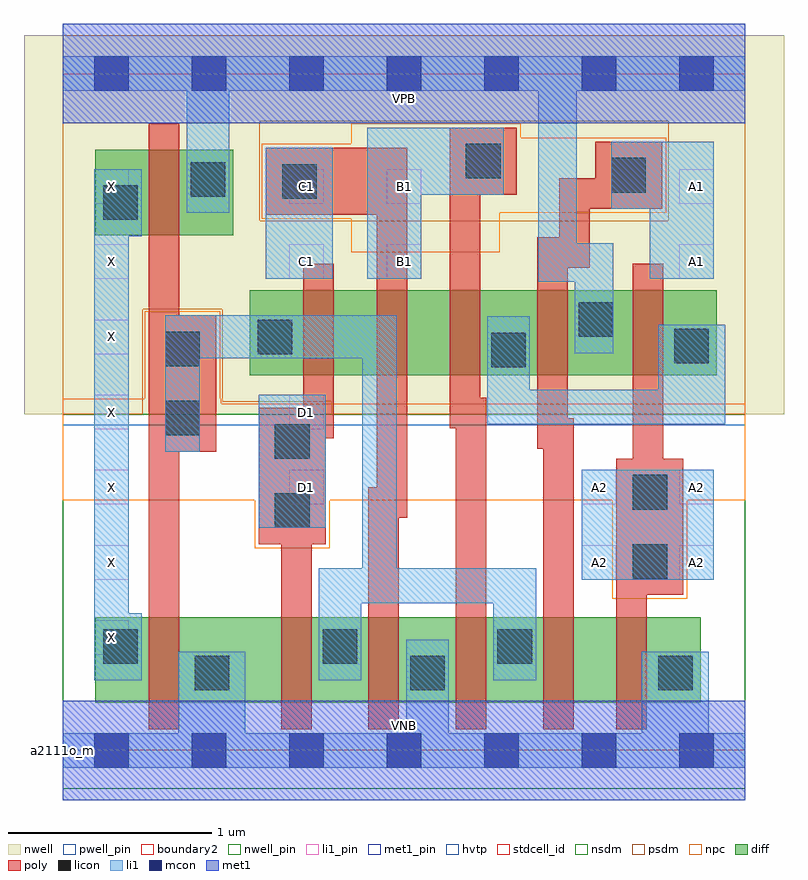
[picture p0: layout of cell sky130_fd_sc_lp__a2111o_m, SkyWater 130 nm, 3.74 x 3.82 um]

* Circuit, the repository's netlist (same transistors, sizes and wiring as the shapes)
* Copyright 2020 The SkyWater PDK Authors
*
* Licensed under the Apache License, Version 2.0 (the "License");
* you may not use this file except in compliance with the License.
* You may obtain a copy of the License at
*
*     https://www.apache.org/licenses/LICENSE-2.0
*
* Unless required by applicable law or agreed to in writing, software
* distributed under the License is distributed on an "AS IS" BASIS,
* WITHOUT WARRANTIES OR CONDITIONS OF ANY KIND, either express or implied.
* See the License for the specific language governing permissions and
* limitations under the License.
*
* SPDX-License-Identifier: Apache-2.0

.SUBCKT sky130_fd_sc_lp__a2111o_m A1 A2 B1 C1 D1 VGND VNB VPB VPWR X
*.PININFO A1:I A2:I B1:I C1:I D1:I VGND:I VNB:I VPB:I VPWR:I X:O
MMPA0 pndA A1 VPWR VPB sky130_fd_pr__pfet_01v8_hvt m=1 w=0.42U l=0.15U mult=1 sa=0.265
+ sb=0.265 sd=0.28 area=0.063 perim=1.14
MMPA1 pndA A2 VPWR VPB sky130_fd_pr__pfet_01v8_hvt m=1 w=0.42U l=0.15U mult=1 sa=0.265
+ sb=0.265 sd=0.28 area=0.063 perim=1.14
MMPB0 pndB B1 pndA VPB sky130_fd_pr__pfet_01v8_hvt m=1 w=0.42U l=0.15U mult=1 sa=0.265
+ sb=0.265 sd=0.28 area=0.063 perim=1.14
MMPC0 pndC C1 pndB VPB sky130_fd_pr__pfet_01v8_hvt m=1 w=0.42U l=0.15U mult=1 sa=0.265
+ sb=0.265 sd=0.28 area=0.063 perim=1.14
MMPD0 y D1 pndC VPB sky130_fd_pr__pfet_01v8_hvt m=1 w=0.42U l=0.15U mult=1 sa=0.265
+ sb=0.265 sd=0.28 area=0.063 perim=1.14
MMIPX X y VPWR VPB sky130_fd_pr__pfet_01v8_hvt m=1 w=0.42U l=0.15U mult=1 sa=0.265
+ sb=0.265 sd=0.28 area=0.063 perim=1.14
MMNA0 y A1 sndA1 VNB sky130_fd_pr__nfet_01v8 m=1 w=0.42U l=0.15U mult=1 sa=0.265
+ sb=0.265 sd=0.28 area=0.063 perim=1.14
MMNA1 sndA1 A2 VGND VNB sky130_fd_pr__nfet_01v8 m=1 w=0.42U l=0.15U mult=1 sa=0.265
+ sb=0.265 sd=0.28 area=0.063 perim=1.14
MMNB0 y B1 VGND VNB sky130_fd_pr__nfet_01v8 m=1 w=0.42U l=0.15U mult=1 sa=0.265
+ sb=0.265 sd=0.28 area=0.063 perim=1.14
MMNC0 y C1 VGND VNB sky130_fd_pr__nfet_01v8 m=1 w=0.42U l=0.15U mult=1 sa=0.265
+ sb=0.265 sd=0.28 area=0.063 perim=1.14
MMND0 y D1 VGND VNB sky130_fd_pr__nfet_01v8 m=1 w=0.42U l=0.15U mult=1 sa=0.265
+ sb=0.265 sd=0.28 area=0.063 perim=1.14
MMINX X y VGND VNB sky130_fd_pr__nfet_01v8 m=1 w=0.42U l=0.15U mult=1 sa=0.265
+ sb=0.265 sd=0.28 area=0.063 perim=1.14
.ENDS sky130_fd_sc_lp__a2111o_m

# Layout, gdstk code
import gdstk
lib = gdstk.Library(unit=1e-6, precision=1e-09)
def R(c, l, rs):  # rectangles x0, y0, x1, y1
    for r in rs: c.add(gdstk.rectangle(r[:2], r[2:], *l))
def A(c, l, x, y, w, h, nx, ny, dx, dy):  # array of equal rectangles
    R(c, l, [(x+i*dx, y+j*dy, x+i*dx+w, y+j*dy+h) for i in range(nx) for j in range(ny)])
def P(c, l, *ps):  # polygons
    for p in ps: c.add(gdstk.Polygon(p, *l))
nwell_pin = (64, 16)
nwell = (64, 20)
diff = (65, 20)
poly = (66, 20)
licon = (66, 44)
li1_pin = (67, 16)
li1 = (67, 20)
mcon = (67, 44)
met1_pin = (68, 16)
met1 = (68, 20)
hvtp = (78, 44)
stdcell_id = (81, 4)
nsdm = (93, 44)
psdm = (94, 20)
npc = (95, 20)
pwell_pin = (122, 16)
boundary2 = (236, 0)

sky130_fd_sc_lp__a2111o_ = lib.new_cell('sky130_fd_sc_lp__a2111o_m')
R(sky130_fd_sc_lp__a2111o_, nwell_pin, [(0,3.085,3.36,3.33)])
R(sky130_fd_sc_lp__a2111o_, nwell, [(-0.19,1.655,3.55,3.52)])
R(sky130_fd_sc_lp__a2111o_, diff, [(0.16,0.235,3.14,0.655), (0.92,1.845,3.22,2.265), (0.16,2.535,0.84,2.955)])
R(sky130_fd_sc_lp__a2111o_, poly, [(2.725,0.105,2.875,0.765), (2.725,0.765,3.055,1.435), (2.805,1.435,2.955,2.395)])
P(sky130_fd_sc_lp__a2111o_, poly, [(0.755,2.14),(0.575,2.14),(0.575,3.085),(0.425,3.085),(0.425,0.105),(0.575,0.105),(0.575,1.47),(0.755,1.47)],
  [(1.335,2.395),(1.185,2.395),(1.185,1.685),(0.965,1.685),(0.965,1.015),(1.075,1.015),(1.075,0.105),(1.225,0.105),(1.225,1.015),(1.295,1.015),(1.295,1.535),(1.335,1.535)],
  [(1.695,2.965),(1,2.965),(1,2.635),(1.545,2.635),(1.545,1.295),(1.505,1.295),(1.505,0.105),(1.655,0.105),(1.655,1.145),(1.695,1.145)],
  [(2.95,2.995),(2.62,2.995),(2.62,2.815),(2.445,2.815),(2.445,2.525),(2.335,2.525),(2.335,1.485),(2.365,1.485),(2.365,0.105),(2.515,0.105),(2.515,1.635),(2.485,1.635),(2.485,2.375),(2.595,2.375),(2.595,2.665),(2.95,2.665)],
  [(2.235,3.065),(1.905,3.065),(1.905,1.585),(1.935,1.585),(1.935,0.105),(2.085,0.105),(2.085,1.735),(2.055,1.735),(2.055,2.735),(2.235,2.735)])
R(sky130_fd_sc_lp__a2111o_, licon, [(0.65,0.295,0.82,0.465), (1.71,0.295,1.88,0.465), (2.93,0.295,3.1,0.465), (0.2,0.425,0.37,0.595), (1.28,0.425,1.45,0.595), (2.14,0.425,2.31,0.595), (2.805,0.845,2.975,1.015), (1.045,1.095,1.215,1.265), (2.805,1.185,2.975,1.355), (1.045,1.435,1.215,1.605), (0.505,1.55,0.675,1.72), (2.11,1.885,2.28,2.055), (0.505,1.89,0.675,2.06), (3.01,1.905,3.18,2.075), (0.96,1.95,1.13,2.12), (2.54,2.035,2.71,2.205), (0.2,2.61,0.37,2.78), (1.08,2.715,1.25,2.885), (0.63,2.725,0.8,2.895), (2.7,2.745,2.87,2.915), (1.985,2.815,2.155,2.985)])
A(sky130_fd_sc_lp__a2111o_, li1_pin, 0.155, 0.47, 0.17, 0.17, 1, 7, 0, 0.37)
R(sky130_fd_sc_lp__a2111o_, li1_pin, [(2.555,0.84,2.725,1.01), (3.035,0.84,3.205,1.01), (1.115,1.21,1.285,1.38), (2.555,1.21,2.725,1.38), (3.035,1.21,3.205,1.38), (1.115,1.58,1.285,1.75), (1.115,2.32,1.285,2.49), (1.595,2.32,1.765,2.49), (3.035,2.32,3.205,2.49), (1.115,2.69,1.285,2.86), (1.595,2.69,1.765,2.86), (3.035,2.69,3.205,2.86)])
R(sky130_fd_sc_lp__a2111o_, li1, [(2.555,0.84,3.205,1.38), (0.965,1.095,1.295,1.75), (1,2.32,1.33,2.965)])
P(sky130_fd_sc_lp__a2111o_, li1, [(2.85,0.085),(2.85,0.485),(3.18,0.485),(3.18,0.085),(3.36,0.085),(3.36,-0.085),(0,-0.085),(0,0.085),(0.57,0.085),(0.57,0.485),(0.9,0.485),(0.9,0.085),(1.69,0.085),(1.69,0.545),(1.9,0.545),(1.9,0.085)],
  [(1.645,2.14),(1.645,0.895),(2.33,0.895),(2.33,0.345),(2.12,0.345),(2.12,0.725),(1.47,0.725),(1.47,0.345),(1.26,0.345),(1.26,0.895),(1.475,0.895),(1.475,1.93),(0.675,1.93),(0.675,1.47),(0.505,1.47),(0.505,2.14)],
  [(2.17,3.065),(1.5,3.065),(1.5,2.32),(1.765,2.32),(1.765,2.735),(2.17,2.735)],
  [(0.155,2.86),(0.39,2.86),(0.39,2.53),(0.325,2.53),(0.325,0.675),(0.39,0.675),(0.39,0.345),(0.155,0.345)],
  [(2.93,1.775),(2.93,2.095),(3.26,2.095),(3.26,1.605),(2.09,1.605),(2.09,2.135),(2.3,2.135),(2.3,1.775)],
  [(3.205,2.995),(2.7,2.995),(2.7,2.665),(2.89,2.665),(2.89,2.32),(3.205,2.32)],
  [(3.36,3.415),(0,3.415),(0,3.245),(0.61,3.245),(0.61,2.645),(0.82,2.645),(0.82,3.245),(2.34,3.245),(2.34,2.305),(2.52,2.305),(2.52,1.955),(2.71,1.955),(2.71,2.495),(2.53,2.495),(2.53,3.245),(3.36,3.245)])
A(sky130_fd_sc_lp__a2111o_, mcon, 0.155, -0.085, 0.17, 0.17, 7, 2, 0.48, 3.33)
R(sky130_fd_sc_lp__a2111o_, met1_pin, [(0,0,3.36,0.245), (0,3.085,3.36,3.33)])
R(sky130_fd_sc_lp__a2111o_, met1, [(0,-0.245,3.36,0.245), (0,3.085,3.36,3.575)])
R(sky130_fd_sc_lp__a2111o_, hvtp, [(0,1.6,3.36,3.33)])
R(sky130_fd_sc_lp__a2111o_, stdcell_id, [(0,0,3.36,3.33)])
R(sky130_fd_sc_lp__a2111o_, nsdm, [(0,-0.19,3.36,1.655)])
P(sky130_fd_sc_lp__a2111o_, psdm, [(3.36,3.52),(2.98,3.52),(2.98,2.605),(0.97,2.605),(0.97,3.095),(2.98,3.095),(2.98,3.52),(0,3.52),(0,1.655),(0.395,1.655),(0.395,2.17),(0.785,2.17),(0.785,1.715),(1.325,1.715),(1.325,1.655),(3.36,1.655)])
P(sky130_fd_sc_lp__a2111o_, npc, [(2.97,3.015),(2.255,3.015),(2.255,3.085),(1.42,3.085),(1.42,2.985),(0.98,2.985),(0.98,2.615),(1.42,2.615),(1.42,2.45),(2.15,2.45),(2.15,2.645),(2.97,2.645)],
  [(3.36,1.705),(0.78,1.705),(0.78,1.73),(0.775,1.73),(0.775,2.16),(0.405,2.16),(0.405,1.73),(0,1.73),(0,1.23),(0.945,1.23),(0.945,0.995),(1.315,0.995),(1.315,1.23),(2.705,1.23),(2.705,0.745),(3.075,0.745),(3.075,1.23),(3.36,1.23)])
R(sky130_fd_sc_lp__a2111o_, pwell_pin, [(0,0,3.36,0.245)])
R(sky130_fd_sc_lp__a2111o_, boundary2, [(0,0,3.36,3.33)])
sky130_fd_sc_lp__a2111o_.add(gdstk.Label('VNB', (1.68,0.123), layer=64, texttype=59))
sky130_fd_sc_lp__a2111o_.add(gdstk.Label('VPB', (1.68,3.208), layer=64, texttype=5))
sky130_fd_sc_lp__a2111o_.add(gdstk.Label('a2111o_m', (0,0), layer=83, texttype=44))
sky130_fd_sc_lp__a2111o_.add(gdstk.Label('VPWR', (1.68,3.208), layer=68, texttype=5))
sky130_fd_sc_lp__a2111o_.add(gdstk.Label('VGND', (1.68,0.123), layer=68, texttype=5))
sky130_fd_sc_lp__a2111o_.add(gdstk.Label('A2', (2.64,0.925), layer=67, texttype=5))
sky130_fd_sc_lp__a2111o_.add(gdstk.Label('A2', (2.64,1.295), layer=67, texttype=5))
sky130_fd_sc_lp__a2111o_.add(gdstk.Label('A2', (3.12,0.925), layer=67, texttype=5))
sky130_fd_sc_lp__a2111o_.add(gdstk.Label('A2', (3.12,1.295), layer=67, texttype=5))
sky130_fd_sc_lp__a2111o_.add(gdstk.Label('C1', (1.2,2.405), layer=67, texttype=5))
sky130_fd_sc_lp__a2111o_.add(gdstk.Label('C1', (1.2,2.775), layer=67, texttype=5))
sky130_fd_sc_lp__a2111o_.add(gdstk.Label('D1', (1.2,1.295), layer=67, texttype=5))
sky130_fd_sc_lp__a2111o_.add(gdstk.Label('D1', (1.2,1.665), layer=67, texttype=5))
sky130_fd_sc_lp__a2111o_.add(gdstk.Label('A1', (3.12,2.405), layer=67, texttype=5))
sky130_fd_sc_lp__a2111o_.add(gdstk.Label('A1', (3.12,2.775), layer=67, texttype=5))
sky130_fd_sc_lp__a2111o_.add(gdstk.Label('B1', (1.68,2.405), layer=67, texttype=5))
sky130_fd_sc_lp__a2111o_.add(gdstk.Label('B1', (1.68,2.775), layer=67, texttype=5))
sky130_fd_sc_lp__a2111o_.add(gdstk.Label('X', (0.24,0.555), layer=67, texttype=5))
sky130_fd_sc_lp__a2111o_.add(gdstk.Label('X', (0.24,0.925), layer=67, texttype=5))
sky130_fd_sc_lp__a2111o_.add(gdstk.Label('X', (0.24,1.295), layer=67, texttype=5))
sky130_fd_sc_lp__a2111o_.add(gdstk.Label('X', (0.24,1.665), layer=67, texttype=5))
sky130_fd_sc_lp__a2111o_.add(gdstk.Label('X', (0.24,2.035), layer=67, texttype=5))
sky130_fd_sc_lp__a2111o_.add(gdstk.Label('X', (0.24,2.405), layer=67, texttype=5))
sky130_fd_sc_lp__a2111o_.add(gdstk.Label('X', (0.24,2.775), layer=67, texttype=5))

lib.write_gds('sky130_fd_sc_lp__a2111o_m.gds')
